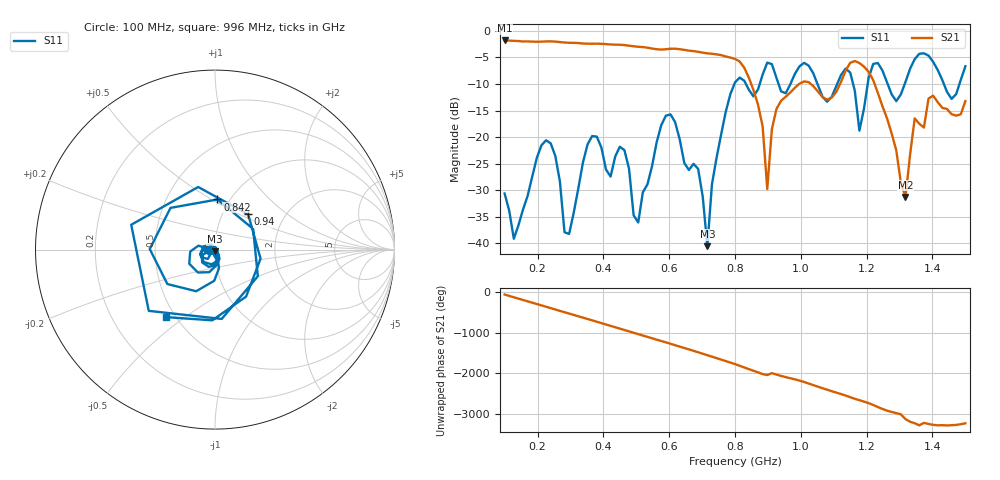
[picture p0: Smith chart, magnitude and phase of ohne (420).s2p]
! NanoVNA-App
! Date: 2025-09-25 14:24:04
! Start: 100MHz Stop: 1,5GHz Points: 101
! S-Parameter data: F S11 S21 S12 S22
# Hz S RI R 50
!  Frequency  S11_Real  S11_Imag  S21_Real  S21_Imag  S12_Real  S12_Imag  S22_Real  S22_Imag
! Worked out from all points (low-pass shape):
!   101 points, 100 MHz to 1.5 GHz, reference 50 ohm
!   highest |S21| = -1.79 dB at 100 MHz (marker M1); lowest = -31.3 dB at 1.318 GHz (marker M2)
!   |S21| within 3 dB of the highest: start of sweep to 771.3 MHz
!   lowest |S11| = -40.6 dB at 716 MHz (marker M3), VSWR 1.02, Z = 49.7 - j0.894 ohm
!   |S11| at or under -10 dB: start of sweep to 798.1 MHz; 833.2 MHz to 875.1 MHz (41.95 MHz wide, 4.91 % of centre); 1.051 GHz to 1.11 GHz (59.89 MHz wide, 5.54 % of centre) (the widest 3 of 7)
!   S12 and S22 are empty: the file has one direction only
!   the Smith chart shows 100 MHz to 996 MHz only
!   S11 on the Smith chart (normalised r, x): 100 MHz: 0.94, -0.01; 842 MHz: 0.88, +0.53; 940 MHz: 1.32, +0.56; 996 MHz: 0.45, -0.43
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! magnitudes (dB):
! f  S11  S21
! 100 MHz  -30.6  -1.8
! 128 MHz  -39.2  -1.9
! 226 MHz  -20.6  -2.0
! 296 MHz  -38.2  -2.2
! 338 MHz  -24.8  -2.4
! 464 MHz  -22.5  -2.7
! 506 MHz  -36.1  -3.0
! 576 MHz  -17.7  -3.5
! 688 MHz  -26.0  -3.9
! 716 MHz  -40.6  -4.2
! 800 MHz  -9.7  -5.3
! 842 MHz  -11.1  -8.8
! 898 MHz  -6.0  -29.8
! 940 MHz  -11.4  -13.2
! 996 MHz  -6.7  -9.9
! 1.038 GHz  -8.0  -10.4
! 1.178 GHz  -18.8  -6.0
! 1.22 GHz  -6.2  -9.3
! 1.276 GHz  -12.0  -19.3
! 1.318 GHz  -9.6  -31.3
! 1.346 GHz  -5.3  -16.5
! 1.5 GHz  -6.6  -13.2
